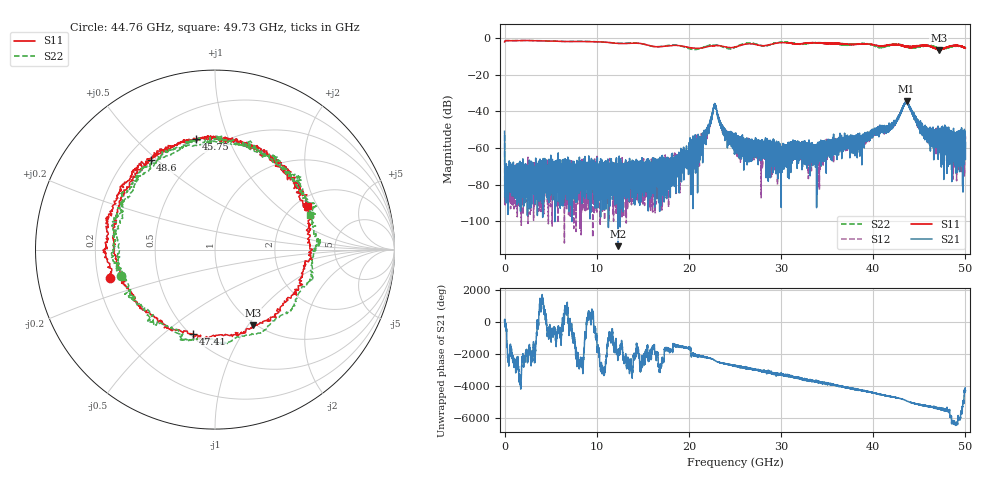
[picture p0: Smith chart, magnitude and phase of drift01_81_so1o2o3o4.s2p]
!Created with skrf (http://scikit-rf.org).
# Hz S RI R 50.0
!freq ReS11 ImS11 ReS21 ImS21 ReS12 ImS12 ReS22 ImS22
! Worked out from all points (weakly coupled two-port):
!   10001 points, 300 kHz to 50 GHz, reference 50 ohm
!   highest |S21| = -34.46 dB at 43.62 GHz (marker M1); lowest = -113.6 dB at 12.29 GHz (marker M2)
!   lowest |S11| = -6.5 dB at 47.12 GHz (marker M3), VSWR 2.79, Z = 48.7 - j52.8 ohm
!   |S11| at or under -10 dB: nowhere
!   |S22| runs from -6.4 to -1.3 dB; largest |S21 - S12| = 0.0044
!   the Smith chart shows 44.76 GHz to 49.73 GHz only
!   S11 on the Smith chart (normalised r, x): 44.76 GHz: 0.25, -0.12; 45.75 GHz: 0.38, +0.77; 47.41 GHz: 0.52, -0.63; 48.6 GHz: 0.30, +0.48; 49.73 GHz: 2.32, +1.69
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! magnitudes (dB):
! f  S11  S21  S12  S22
! 300 kHz  -2.1  -50.9  -53.1  -2.1
! 255.3 MHz  -1.4  -86.7  -71.8  -1.4
! 8.335 GHz  -1.9  -67.5  -84.7  -1.8
! 12.29 GHz  -3.0  -113.6  -75.5  -2.9
! 16.67 GHz  -4.8  -78.3  -72.5  -4.8
! 21.13 GHz  -5.6  -55.8  -58.9  -5.9
! 21.97 GHz  -4.8  -52.2  -50.5  -4.6
! 22.79 GHz  -4.3  -36.2  -36.2  -4.0
! 23.81 GHz  -4.7  -52.0  -50.4  -5.1
! 25 GHz  -5.0  -53.3  -56.6  -5.0
! 29.87 GHz  -2.6  -63.1  -64.5  -2.4
! 32.19 GHz  -3.1  -57.1  -62.2  -3.4
! 33.34 GHz  -2.6  -61.5  -62.6  -2.7
! 41.67 GHz  -3.8  -50.3  -49.7  -3.9
! 43.62 GHz  -5.0  -34.5  -35.1  -4.8
! 44.76 GHz  -4.4  -45.3  -45.6  -5.3
! 45.75 GHz  -4.1  -51.2  -51.2  -4.5
! 47.12 GHz  -6.5  -49.1  -56.0  -5.6
! 47.41 GHz  -6.3  -56.7  -54.2  -5.9
! 48.6 GHz  -4.2  -59.8  -61.5  -4.7
! 49.73 GHz  -4.8  -59.9  -58.9  -5.0
! 50 GHz  -5.6  -57.3  -60.9  -5.2
